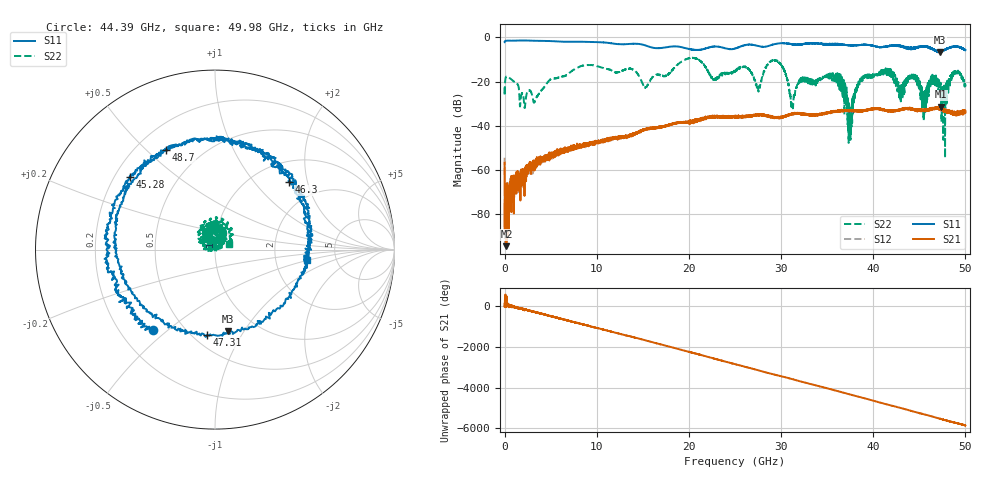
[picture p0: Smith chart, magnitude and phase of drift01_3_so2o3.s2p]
!Created with skrf (http://scikit-rf.org).
# Hz S RI R 50.0
!freq ReS11 ImS11 ReS21 ImS21 ReS12 ImS12 ReS22 ImS22
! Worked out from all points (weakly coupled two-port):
!   10001 points, 300 kHz to 50 GHz, reference 50 ohm
!   highest |S21| = -31.43 dB at 47.35 GHz (marker M1); lowest = -94.6 dB at 195.3 MHz (marker M2)
!   lowest |S11| = -6.8 dB at 47.21 GHz (marker M3), VSWR 2.70, Z = 36.8 - j42.4 ohm
!   |S11| at or under -10 dB: nowhere
!   |S22| runs from -54.6 to -9.2 dB; largest |S21 - S12| = 0.0036
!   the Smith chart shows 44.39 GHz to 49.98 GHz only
!   S11 on the Smith chart (normalised r, x): 44.39 GHz: 0.34, -0.45; 45.28 GHz: 0.26, +0.35; 46.3 GHz: 1.41, +1.54; 47.31 GHz: 0.59, -0.72; 48.7 GHz: 0.32, +0.58; 49.98 GHz: 3.06, -0.49
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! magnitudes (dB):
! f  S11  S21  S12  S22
! 300 kHz  -2.1  -56.7  -54.5  -22.6
! 195.3 MHz  -1.4  -94.6  -68.9  -17.7
! 3.285 GHz  -1.5  -57.3  -56.6  -28.9
! 8.335 GHz  -2.0  -49.6  -49.7  -12.9
! 16.67 GHz  -4.9  -40.6  -40.8  -16.7
! 25 GHz  -5.0  -35.7  -35.8  -15.3
! 29.59 GHz  -2.8  -36.3  -36.2  -10.6
! 31.23 GHz  -3.1  -34.6  -34.8  -30.6
! 33.34 GHz  -2.6  -35.1  -35.2  -19.7
! 36.08 GHz  -3.0  -33.8  -33.4  -17.6
! 37.47 GHz  -3.6  -33.0  -33.1  -38.0
! 38.65 GHz  -3.4  -33.3  -33.3  -20.4
! 41.67 GHz  -3.9  -33.2  -33.3  -15.5
! 44.39 GHz  -5.0  -32.6  -32.7  -17.3
! 45.28 GHz  -4.1  -32.9  -32.8  -25.4
! 46.3 GHz  -5.1  -33.0  -32.6  -18.2
! 47.21 GHz  -6.8  -32.3  -32.1  -25.6
! 47.31 GHz  -6.4  -32.3  -32.1  -21.0
! 47.35 GHz  -6.4  -31.4  -32.7  -23.8
! 48.7 GHz  -4.2  -33.9  -34.5  -16.0
! 49.98 GHz  -5.7  -33.1  -33.2  -21.7
! 50 GHz  -5.7  -34.0  -33.6  -21.6
